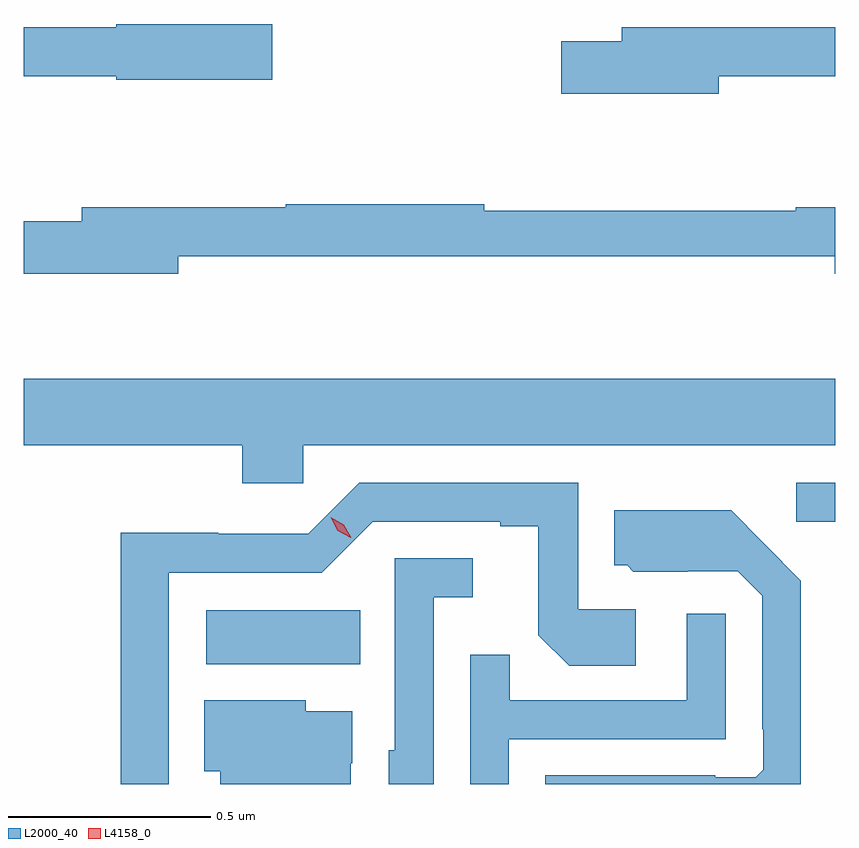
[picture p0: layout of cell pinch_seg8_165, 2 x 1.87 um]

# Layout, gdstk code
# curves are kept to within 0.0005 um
import gdstk
lib = gdstk.Library(unit=1e-6, precision=1e-09)
def R(c, l, rs):  # rectangles x0, y0, x1, y1
    for r in rs: c.add(gdstk.rectangle(r[:2], r[2:], *l))
def P(c, l, *ps):  # polygons
    for p in ps: c.add(gdstk.Polygon(p, *l))
L2000_40 = (2000, 40)
L4158_0 = (4158, 0)

pinch_seg8_165 = lib.new_cell('pinch_seg8_165')
R(pinch_seg8_165, L2000_40, [(693.93,1154.588,694.31,1154.722), (695.385,1154.94,695.481,1155.036)])
P(pinch_seg8_165, L2000_40, [(694.093,1156.167),(693.708,1156.167),(693.708,1156.159),(693.481,1156.159),(693.481,1156.038),(693.708,1156.038),(693.708,1156.03),(694.093,1156.03)],
  [(695.194,1156.038),(695.481,1156.038),(695.481,1156.159),(694.955,1156.159),(694.955,1156.125),(694.806,1156.125),(694.806,1155.995),(695.194,1155.995)],
  [(693.862,1155.594),(695.48,1155.594),(695.48,1155.551),(695.481,1155.551),(695.481,1155.715),(695.384,1155.715),(695.384,1155.707),(694.616,1155.707),(694.616,1155.722),(694.127,1155.722),(694.127,1155.715),(693.623,1155.715),(693.623,1155.681),(693.481,1155.681),(693.481,1155.551),(693.862,1155.551)],
  [(694.17,1155.128),(695.481,1155.128),(695.481,1155.292),(693.481,1155.292),(693.481,1155.128),(694.019,1155.128),(694.019,1155.035),(694.17,1155.035)],
  [(693.838,1154.814),(694.215,1154.814),(694.341,1154.94),(694.655,1154.94),(694.655,1154.928),(694.749,1154.928),(694.749,1154.66),(694.825,1154.584),(694.99,1154.584),(694.99,1154.724),(694.848,1154.724),(694.848,1155.036),(694.308,1155.036),(694.182,1154.91),(693.96,1154.91),(693.96,1154.912),(693.72,1154.912),(693.72,1154.293),(693.838,1154.293)],
  [(695.397,1154.794),(695.225,1154.968),(694.937,1154.968),(694.937,1154.832),(694.968,1154.832),(694.984,1154.816),(695.118,1154.816),(695.118,1154.817),(695.241,1154.817),(695.301,1154.757),(695.301,1154.428),(695.304,1154.428),(695.304,1154.328),(695.286,1154.31),(695.186,1154.31),(695.186,1154.314),(694.766,1154.314),(694.766,1154.293),(695.397,1154.293)],
  [(694.491,1154.753),(694.588,1154.753),(694.588,1154.85),(694.395,1154.85),(694.395,1154.376),(694.38,1154.376),(694.38,1154.293),(694.491,1154.293)],
  [(694.677,1154.403),(695.211,1154.403),(695.211,1154.713),(695.115,1154.713),(695.115,1154.499),(694.679,1154.499),(694.679,1154.612),(694.581,1154.612),(694.581,1154.293),(694.677,1154.293)],
  [(694.287,1154.344),(694.291,1154.344),(694.291,1154.473),(694.176,1154.473),(694.176,1154.5),(693.926,1154.5),(693.926,1154.324),(693.965,1154.324),(693.965,1154.293),(694.287,1154.293)])
P(pinch_seg8_165, L4158_0, [(694.287,1154.9),(694.255,1154.918),(694.237,1154.951),(694.237,1154.951),(694.237,1154.951),(694.269,1154.932),(694.288,1154.9),(694.288,1154.9)])

lib.write_gds('pinch_seg8_165.gds')
